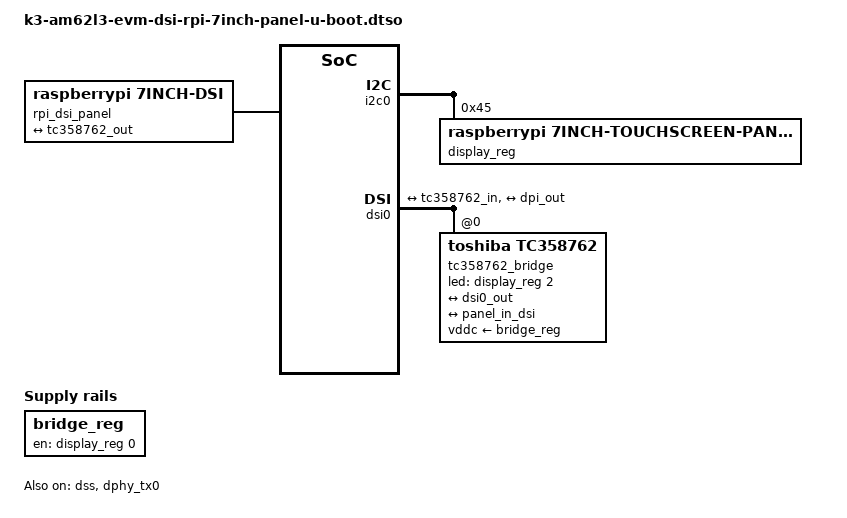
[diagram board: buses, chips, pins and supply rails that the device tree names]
// SPDX-License-Identifier: GPL-2.0
/*
 * Raspberry Pi 7-inch DSI panel U-Boot overlay for AM62L3 EVM
 * Copyright (C) 2025 Texas Instruments Incorporated - https://www.ti.com/
 */

/ {
	bridge_reg: bridge-regulator {
		bootph-all;
		compatible = "regulator-fixed";
		regulator-name = "bridge-reg";
		gpio = <&display_reg 0 0>;
		enable-active-high;
	};

	rpi_dsi_panel: panel-dsi {
		bootph-all;
		compatible = "raspberrypi,7inch-dsi", "simple-panel";
		status = "okay";

		ports {
			bootph-all;
			#address-cells = <1>;
			#size-cells = <0>;

			port@0 {
				bootph-all;
				reg = <0>;
				panel_in_dsi: endpoint {
					bootph-all;
					remote-endpoint = <&tc358762_out>;
				};
			};
		};

		display-timings {
			bootph-all;
			timing0: timing@0 {
				bootph-all;
				clock-frequency = <28569>;
				hactive = <800>;
				vactive = <480>;
				hback-porch = <80>;
				hfront-porch = <48>;
				hsync-len = <32>;
				vback-porch = <6>;
				vfront-porch = <3>;
				vsync-len = <7>;
				hsync-active = <0>;
				vsync-active = <0>;
			};
		};
	};
};

&i2c0 {
	bootph-all;

	display_reg: regulator@45 {
		bootph-all;
		compatible = "raspberrypi,7inch-touchscreen-panel-regulator";
		reg = <0x45>;
		gpio-controller;
		#gpio-cells = <2>;
	};
};

&dss {
	bootph-all;
	status = "okay";
	/delete-property/ pinctrl-names;
	/delete-property/ pinctrl-0;
};

&dss_ports {
	bootph-all;

	port@0 {
		bootph-all;
		dpi_out: endpoint {
			bootph-all;
			remote-endpoint = <&dsi0_in>;
		};
	};
};

&sii9022 {
	status = "disabled";
};

&dphy_tx0 {
	bootph-all;
	status = "okay";
};

&dsi0 {
	bootph-all;
	status = "okay";
	#address-cells = <1>;
	#size-cells = <0>;

	ports {
		port@0 {
			bootph-all;
			dsi0_out: endpoint {
				bootph-all;
				remote-endpoint = <&tc358762_in>;
			};
		};

		port@1 {
			bootph-all;
			dsi0_in: endpoint {
				bootph-all;
				remote-endpoint = <&dpi_out>;
			};
		};
	};

	tc358762_bridge: bridge@0 {
		bootph-all;
		compatible = "toshiba,tc358762";
		reg = <0>;
		vddc-supply = <&bridge_reg>;
		led-gpios = <&display_reg 2 0>;

		ports {
			bootph-all;
			#address-cells = <1>;
			#size-cells = <0>;

			port@0 {
				bootph-all;
				reg = <0>;
				tc358762_in: endpoint {
					bootph-all;
					remote-endpoint = <&dsi0_out>;
				};
			};

			port@1 {
				bootph-all;
				reg = <1>;
				tc358762_out: endpoint {
					bootph-all;
					remote-endpoint = <&panel_in_dsi>;
				};
			};
		};
	};
};
